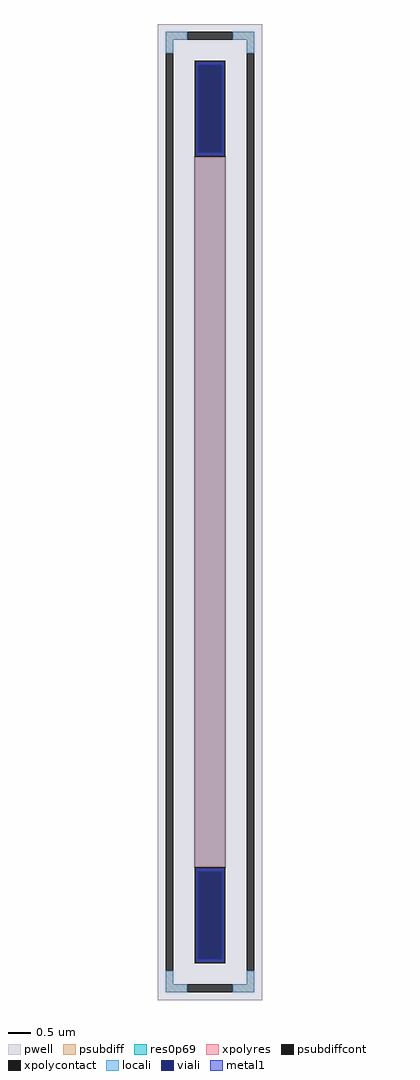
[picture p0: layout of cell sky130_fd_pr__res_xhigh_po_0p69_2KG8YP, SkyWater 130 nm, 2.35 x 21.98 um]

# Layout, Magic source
magic
tech sky130A
magscale 1 2
<< pwell >>
rect -235 -2198 235 2198
<< psubdiff >>
rect -199 2128 -103 2162
rect 103 2128 199 2162
rect -199 2066 -165 2128
rect 165 2066 199 2128
rect -199 -2128 -165 -2066
rect 165 -2128 199 -2066
rect -199 -2162 -103 -2128
rect 103 -2162 199 -2128
<< psubdiffcont >>
rect -103 2128 103 2162
rect -199 -2066 -165 2066
rect 165 -2066 199 2066
rect -103 -2162 103 -2128
<< xpolycontact >>
rect -69 1600 69 2032
rect -69 -2032 69 -1600
<< xpolyres >>
rect -69 -1600 69 1600
<< locali >>
rect -199 2128 -103 2162
rect 103 2128 199 2162
rect -199 2066 -165 2128
rect 165 2066 199 2128
rect -199 -2128 -165 -2066
rect 165 -2128 199 -2066
rect -199 -2162 -103 -2128
rect 103 -2162 199 -2128
<< viali >>
rect -53 1617 53 2014
rect -53 -2014 53 -1617
<< metal1 >>
rect -59 2014 59 2026
rect -59 1617 -53 2014
rect 53 1617 59 2014
rect -59 1605 59 1617
rect -59 -1617 59 -1605
rect -59 -2014 -53 -1617
rect 53 -2014 59 -1617
rect -59 -2026 59 -2014
<< res0p69 >>
rect -71 -1602 71 1602
<< properties >>
string FIXED_BBOX -182 -2145 182 2145
string gencell sky130_fd_pr__res_xhigh_po_0p69
string library sky130
string parameters w 0.690 l 16 m 1 nx 1 wmin 0.690 lmin 0.50 rho 2000 val 46.922k dummy 0 dw 0.0 term 188.2 sterm 0.0 caplen 0 wmax 0.690 guard 1 glc 1 grc 1 gtc 1 gbc 1 compatible {sky130_fd_pr__res_xhigh_po_0p35  sky130_fd_pr__res_xhigh_po_0p69 sky130_fd_pr__res_xhigh_po_1p41  sky130_fd_pr__res_xhigh_po_2p85 sky130_fd_pr__res_xhigh_po_5p73} snake 0 full_metal 1 n_guard 0 hv_guard 0 vias 1 viagb 0 viagt 0 viagl 0 viagr 0
<< end >>
